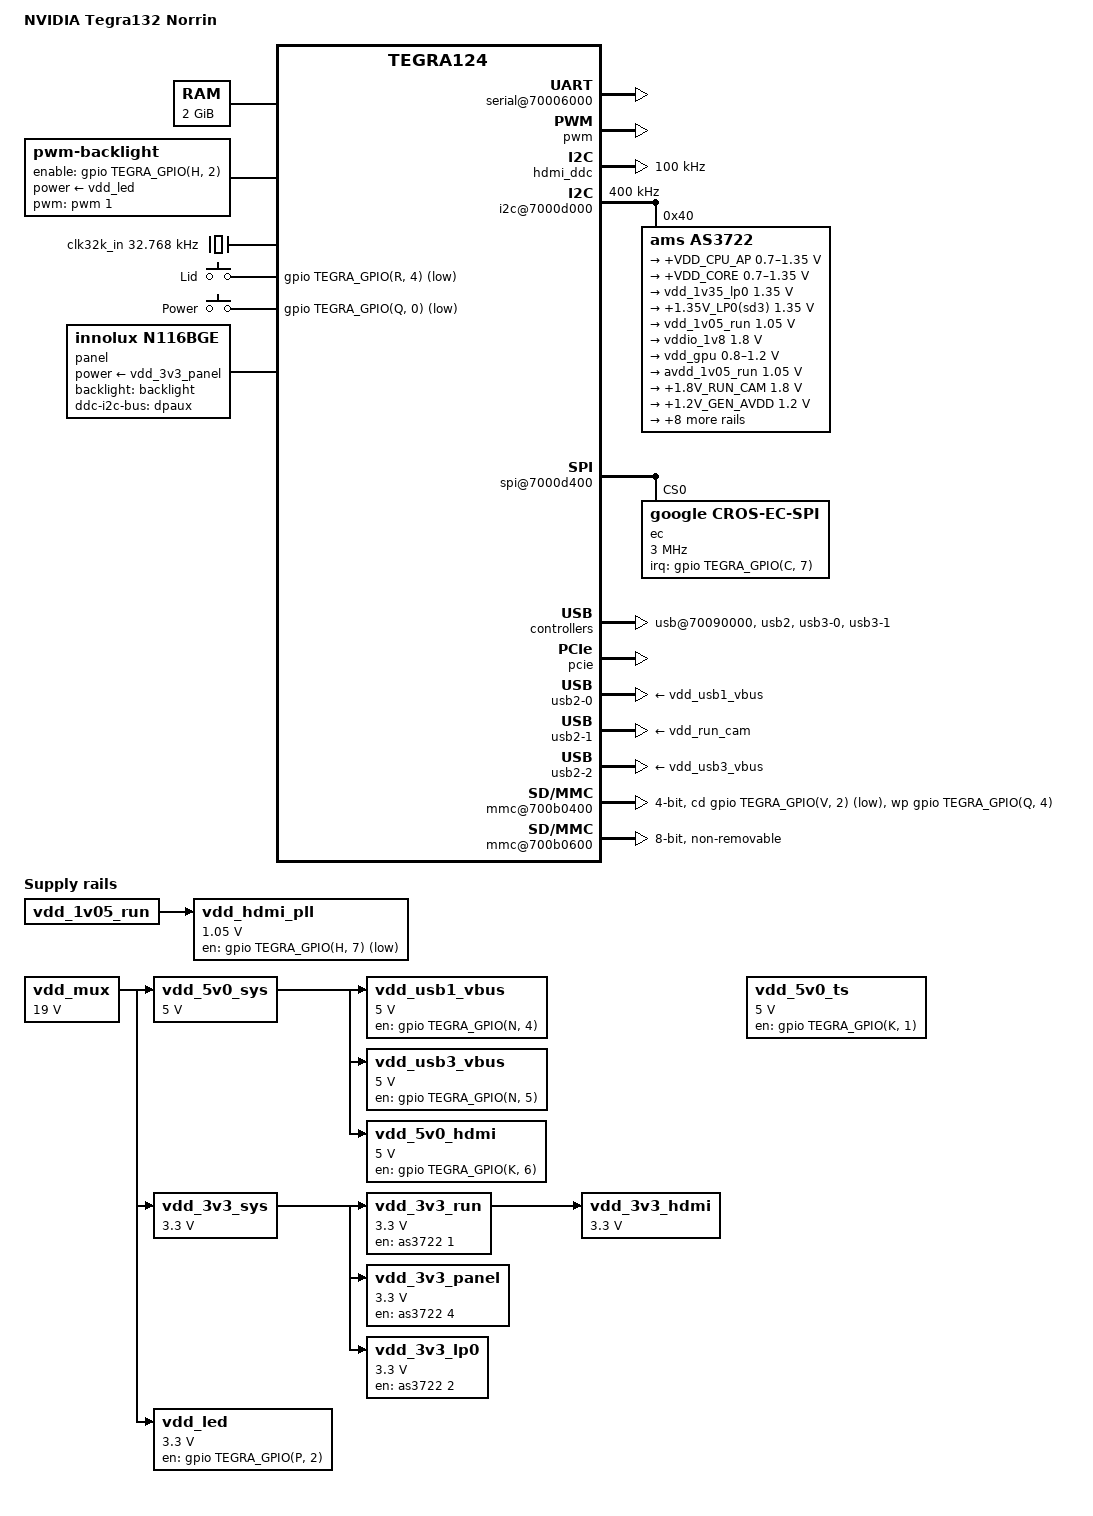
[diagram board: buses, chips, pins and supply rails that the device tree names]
// SPDX-License-Identifier: GPL-2.0
/dts-v1/;

#include <dt-bindings/input/input.h>
#include "tegra132.dtsi"

/ {
	model = "NVIDIA Tegra132 Norrin";
	compatible = "nvidia,norrin", "nvidia,tegra132", "nvidia,tegra124";

	aliases {
		rtc0 = "/i2c@7000d000/as3722@40";
		rtc1 = "/rtc@7000e000";
		serial0 = &uarta;
	};

	chosen {
		stdout-path = "serial0:115200n8";
	};

	memory@80000000 {
		device_type = "memory";
		reg = <0x0 0x80000000 0x0 0x80000000>;
	};

	host1x@50000000 {
		hdmi@54280000 {
			status = "disabled";

			vdd-supply = <&vdd_3v3_hdmi>;
			pll-supply = <&vdd_hdmi_pll>;
			hdmi-supply = <&vdd_5v0_hdmi>;

			nvidia,ddc-i2c-bus = <&hdmi_ddc>;
			nvidia,hpd-gpio =
				<&gpio TEGRA_GPIO(N, 7) GPIO_ACTIVE_HIGH>;
		};

		sor@54540000 {
			status = "okay";

			avdd-io-hdmi-dp-supply = <&vdd_3v3_hdmi>;
			vdd-hdmi-dp-pll-supply = <&vdd_hdmi_pll>;

			nvidia,dpaux = <&dpaux>;
			nvidia,panel = <&panel>;
		};

		dpaux: dpaux@545c0000 {
			vdd-supply = <&vdd_3v3_panel>;
			status = "okay";
		};
	};

	gpu@57000000 {
		status = "okay";

		vdd-supply = <&vdd_gpu>;
	};

	pinmux@70000868 {
		pinctrl-names = "default";
		pinctrl-0 = <&pinmux_default>;

		pinmux_default: pinmux@0 {
			dap_mclk1_pw4 {
				nvidia,pins = "dap_mclk1_pw4";
				nvidia,function = "extperiph1";
				nvidia,pull = <TEGRA_PIN_PULL_NONE>;
				nvidia,tristate = <TEGRA_PIN_DISABLE>;
				nvidia,enable-input = <TEGRA_PIN_DISABLE>;
			};
			dap2_din_pa4 {
				nvidia,pins = "dap2_din_pa4";
				nvidia,function = "i2s1";
				nvidia,pull = <TEGRA_PIN_PULL_NONE>;
				nvidia,tristate = <TEGRA_PIN_DISABLE>;
				nvidia,enable-input = <TEGRA_PIN_ENABLE>;
			};
			dap2_dout_pa5 {
				nvidia,pins = "dap2_dout_pa5",
					      "dap2_fs_pa2",
					      "dap2_sclk_pa3";
				nvidia,function = "i2s1";
				nvidia,pull = <TEGRA_PIN_PULL_NONE>;
				nvidia,tristate = <TEGRA_PIN_DISABLE>;
				nvidia,enable-input = <TEGRA_PIN_DISABLE>;
			};
			dap3_dout_pp2 {
				nvidia,pins = "dap3_dout_pp2";
				nvidia,function = "i2s2";
				nvidia,pull = <TEGRA_PIN_PULL_DOWN>;
				nvidia,tristate = <TEGRA_PIN_DISABLE>;
				nvidia,enable-input = <TEGRA_PIN_DISABLE>;
			};
			dvfs_pwm_px0 {
				nvidia,pins = "dvfs_pwm_px0",
					      "dvfs_clk_px2";
				nvidia,function = "cldvfs";
				nvidia,pull = <TEGRA_PIN_PULL_NONE>;
				nvidia,tristate = <TEGRA_PIN_DISABLE>;
				nvidia,enable-input = <TEGRA_PIN_DISABLE>;
			};
			ulpi_clk_py0 {
				nvidia,pins = "ulpi_clk_py0",
					      "ulpi_nxt_py2",
					      "ulpi_stp_py3";
				nvidia,function = "spi1";
				nvidia,pull = <TEGRA_PIN_PULL_NONE>;
				nvidia,tristate = <TEGRA_PIN_DISABLE>;
				nvidia,enable-input = <TEGRA_PIN_DISABLE>;
			};
			ulpi_dir_py1 {
				nvidia,pins = "ulpi_dir_py1";
				nvidia,function = "spi1";
				nvidia,pull = <TEGRA_PIN_PULL_NONE>;
				nvidia,tristate = <TEGRA_PIN_DISABLE>;
				nvidia,enable-input = <TEGRA_PIN_ENABLE>;
			};
			cam_i2c_scl_pbb1 {
				nvidia,pins = "cam_i2c_scl_pbb1",
					      "cam_i2c_sda_pbb2";
				nvidia,function = "i2c3";
				nvidia,pull = <TEGRA_PIN_PULL_NONE>;
				nvidia,tristate = <TEGRA_PIN_DISABLE>;
				nvidia,enable-input = <TEGRA_PIN_ENABLE>;
				nvidia,lock = <TEGRA_PIN_DISABLE>;
				nvidia,open-drain = <TEGRA_PIN_ENABLE>;
			};
			gen2_i2c_scl_pt5 {
				nvidia,pins = "gen2_i2c_scl_pt5",
					      "gen2_i2c_sda_pt6";
				nvidia,function = "i2c2";
				nvidia,pull = <TEGRA_PIN_PULL_NONE>;
				nvidia,tristate = <TEGRA_PIN_DISABLE>;
				nvidia,enable-input = <TEGRA_PIN_ENABLE>;
				nvidia,lock = <TEGRA_PIN_DISABLE>;
				nvidia,open-drain = <TEGRA_PIN_ENABLE>;
			};
			pj7 {
				nvidia,pins = "pj7";
				nvidia,function = "uartd";
				nvidia,pull = <TEGRA_PIN_PULL_NONE>;
				nvidia,tristate = <TEGRA_PIN_DISABLE>;
				nvidia,enable-input = <TEGRA_PIN_DISABLE>;
			};
			spdif_in_pk6 {
				nvidia,pins = "spdif_in_pk6";
				nvidia,function = "spdif";
				nvidia,pull = <TEGRA_PIN_PULL_DOWN>;
				nvidia,tristate = <TEGRA_PIN_DISABLE>;
				nvidia,enable-input = <TEGRA_PIN_DISABLE>;
			};
			pk7 {
				nvidia,pins = "pk7";
				nvidia,function = "uartd";
				nvidia,pull = <TEGRA_PIN_PULL_NONE>;
				nvidia,tristate = <TEGRA_PIN_DISABLE>;
				nvidia,enable-input = <TEGRA_PIN_DISABLE>;
			};
			pg4 {
				nvidia,pins = "pg4",
					      "pg5",
					      "pg6",
					      "pi3";
				nvidia,function = "spi4";
				nvidia,pull = <TEGRA_PIN_PULL_NONE>;
				nvidia,tristate = <TEGRA_PIN_DISABLE>;
				nvidia,enable-input = <TEGRA_PIN_DISABLE>;
			};
			pg7 {
				nvidia,pins = "pg7";
				nvidia,function = "spi4";
				nvidia,pull = <TEGRA_PIN_PULL_NONE>;
				nvidia,tristate = <TEGRA_PIN_DISABLE>;
				nvidia,enable-input = <TEGRA_PIN_ENABLE>;
			};
			ph1 {
				nvidia,pins = "ph1";
				nvidia,function = "pwm1";
				nvidia,pull = <TEGRA_PIN_PULL_NONE>;
				nvidia,tristate = <TEGRA_PIN_DISABLE>;
				nvidia,enable-input = <TEGRA_PIN_DISABLE>;
			};
			pk0 {
				nvidia,pins = "pk0",
					      "kb_row15_ps7",
					      "clk_32k_out_pa0";
				nvidia,function = "soc";
				nvidia,pull = <TEGRA_PIN_PULL_UP>;
				nvidia,tristate = <TEGRA_PIN_DISABLE>;
				nvidia,enable-input = <TEGRA_PIN_ENABLE>;
			};
			sdmmc1_clk_pz0 {
				nvidia,pins = "sdmmc1_clk_pz0";
				nvidia,function = "sdmmc1";
				nvidia,pull = <TEGRA_PIN_PULL_NONE>;
				nvidia,tristate = <TEGRA_PIN_DISABLE>;
				nvidia,enable-input = <TEGRA_PIN_ENABLE>;
			};
			sdmmc1_cmd_pz1 {
				nvidia,pins = "sdmmc1_cmd_pz1",
					      "sdmmc1_dat0_py7",
					      "sdmmc1_dat1_py6",
					      "sdmmc1_dat2_py5",
					      "sdmmc1_dat3_py4";
				nvidia,function = "sdmmc1";
				nvidia,pull = <TEGRA_PIN_PULL_UP>;
				nvidia,tristate = <TEGRA_PIN_DISABLE>;
				nvidia,enable-input = <TEGRA_PIN_ENABLE>;
			};
			sdmmc3_clk_pa6 {
				nvidia,pins = "sdmmc3_clk_pa6";
				nvidia,function = "sdmmc3";
				nvidia,pull = <TEGRA_PIN_PULL_NONE>;
				nvidia,tristate = <TEGRA_PIN_DISABLE>;
				nvidia,enable-input = <TEGRA_PIN_ENABLE>;
			};
			sdmmc3_cmd_pa7 {
				nvidia,pins = "sdmmc3_cmd_pa7",
					      "sdmmc3_dat0_pb7",
					      "sdmmc3_dat1_pb6",
					      "sdmmc3_dat2_pb5",
					      "sdmmc3_dat3_pb4",
					      "kb_col4_pq4",
					      "sdmmc3_clk_lb_out_pee4",
					      "sdmmc3_clk_lb_in_pee5",
					      "sdmmc3_cd_n_pv2";
				nvidia,function = "sdmmc3";
				nvidia,pull = <TEGRA_PIN_PULL_UP>;
				nvidia,tristate = <TEGRA_PIN_DISABLE>;
				nvidia,enable-input = <TEGRA_PIN_ENABLE>;
			};
			sdmmc4_clk_pcc4 {
				nvidia,pins = "sdmmc4_clk_pcc4";
				nvidia,function = "sdmmc4";
				nvidia,pull = <TEGRA_PIN_PULL_NONE>;
				nvidia,tristate = <TEGRA_PIN_DISABLE>;
				nvidia,enable-input = <TEGRA_PIN_ENABLE>;
			};
			sdmmc4_cmd_pt7 {
				nvidia,pins = "sdmmc4_cmd_pt7",
					      "sdmmc4_dat0_paa0",
					      "sdmmc4_dat1_paa1",
					      "sdmmc4_dat2_paa2",
					      "sdmmc4_dat3_paa3",
					      "sdmmc4_dat4_paa4",
					      "sdmmc4_dat5_paa5",
					      "sdmmc4_dat6_paa6",
					      "sdmmc4_dat7_paa7";
				nvidia,function = "sdmmc4";
				nvidia,pull = <TEGRA_PIN_PULL_UP>;
				nvidia,tristate = <TEGRA_PIN_DISABLE>;
				nvidia,enable-input = <TEGRA_PIN_ENABLE>;
			};
			mic_det_l {
				nvidia,pins = "kb_row7_pr7";
				nvidia,function = "rsvd2";
				nvidia,pull = <TEGRA_PIN_PULL_UP>;
				nvidia,tristate = <TEGRA_PIN_DISABLE>;
				nvidia,enable-input = <TEGRA_PIN_ENABLE>;
			};
			kb_row10_ps2 {
				nvidia,pins = "kb_row10_ps2";
				nvidia,function = "uarta";
				nvidia,pull = <TEGRA_PIN_PULL_UP>;
				nvidia,tristate = <TEGRA_PIN_DISABLE>;
				nvidia,enable-input = <TEGRA_PIN_ENABLE>;
			};
			kb_row9_ps1 {
				nvidia,pins = "kb_row9_ps1";
				nvidia,function = "uarta";
				nvidia,pull = <TEGRA_PIN_PULL_NONE>;
				nvidia,tristate = <TEGRA_PIN_DISABLE>;
				nvidia,enable-input = <TEGRA_PIN_DISABLE>;
			};
			pwr_i2c_scl_pz6 {
				nvidia,pins = "pwr_i2c_scl_pz6",
					      "pwr_i2c_sda_pz7";
				nvidia,function = "i2cpwr";
				nvidia,pull = <TEGRA_PIN_PULL_NONE>;
				nvidia,tristate = <TEGRA_PIN_DISABLE>;
				nvidia,enable-input = <TEGRA_PIN_ENABLE>;
				nvidia,lock = <TEGRA_PIN_DISABLE>;
				nvidia,open-drain = <TEGRA_PIN_ENABLE>;
			};
			jtag_rtck {
				nvidia,pins = "jtag_rtck";
				nvidia,function = "rtck";
				nvidia,pull = <TEGRA_PIN_PULL_UP>;
				nvidia,tristate = <TEGRA_PIN_DISABLE>;
				nvidia,enable-input = <TEGRA_PIN_DISABLE>;
			};
			clk_32k_in {
				nvidia,pins = "clk_32k_in";
				nvidia,function = "clk";
				nvidia,pull = <TEGRA_PIN_PULL_NONE>;
				nvidia,tristate = <TEGRA_PIN_DISABLE>;
				nvidia,enable-input = <TEGRA_PIN_ENABLE>;
			};
			core_pwr_req {
				nvidia,pins = "core_pwr_req";
				nvidia,function = "pwron";
				nvidia,pull = <TEGRA_PIN_PULL_NONE>;
				nvidia,tristate = <TEGRA_PIN_DISABLE>;
				nvidia,enable-input = <TEGRA_PIN_DISABLE>;
			};
			cpu_pwr_req {
				nvidia,pins = "cpu_pwr_req";
				nvidia,function = "cpu";
				nvidia,pull = <TEGRA_PIN_PULL_NONE>;
				nvidia,tristate = <TEGRA_PIN_DISABLE>;
				nvidia,enable-input = <TEGRA_PIN_DISABLE>;
			};
			kb_col0_ap {
				nvidia,pins = "kb_col0_pq0";
				nvidia,function = "rsvd4";
				nvidia,pull = <TEGRA_PIN_PULL_UP>;
				nvidia,tristate = <TEGRA_PIN_DISABLE>;
				nvidia,enable-input = <TEGRA_PIN_ENABLE>;
			};
			en_vdd_sd {
				nvidia,pins = "kb_row0_pr0";
				nvidia,function = "rsvd4";
				nvidia,pull = <TEGRA_PIN_PULL_NONE>;
				nvidia,tristate = <TEGRA_PIN_DISABLE>;
				nvidia,enable-input = <TEGRA_PIN_DISABLE>;
			};
			lid_open {
				nvidia,pins = "kb_row4_pr4";
				nvidia,function = "rsvd3";
				nvidia,pull = <TEGRA_PIN_PULL_UP>;
				nvidia,tristate = <TEGRA_PIN_DISABLE>;
				nvidia,enable-input = <TEGRA_PIN_ENABLE>;
			};
			pwr_int_n {
				nvidia,pins = "pwr_int_n";
				nvidia,function = "pmi";
				nvidia,pull = <TEGRA_PIN_PULL_UP>;
				nvidia,tristate = <TEGRA_PIN_DISABLE>;
				nvidia,enable-input = <TEGRA_PIN_ENABLE>;
			};
			reset_out_n {
				nvidia,pins = "reset_out_n";
				nvidia,function = "reset_out_n";
				nvidia,pull = <TEGRA_PIN_PULL_NONE>;
				nvidia,tristate = <TEGRA_PIN_DISABLE>;
				nvidia,enable-input = <TEGRA_PIN_DISABLE>;
			};
			clk3_out_pee0 {
				nvidia,pins = "clk3_out_pee0";
				nvidia,function = "extperiph3";
				nvidia,pull = <TEGRA_PIN_PULL_NONE>;
				nvidia,tristate = <TEGRA_PIN_DISABLE>;
				nvidia,enable-input = <TEGRA_PIN_DISABLE>;
			};
			gen1_i2c_scl_pc4 {
				nvidia,pins = "gen1_i2c_scl_pc4",
					      "gen1_i2c_sda_pc5";
				nvidia,function = "i2c1";
				nvidia,pull = <TEGRA_PIN_PULL_NONE>;
				nvidia,tristate = <TEGRA_PIN_DISABLE>;
				nvidia,enable-input = <TEGRA_PIN_ENABLE>;
				nvidia,lock = <TEGRA_PIN_DISABLE>;
				nvidia,open-drain = <TEGRA_PIN_ENABLE>;
			};
			hdmi_cec_pee3 {
				nvidia,pins = "hdmi_cec_pee3";
				nvidia,function = "cec";
				nvidia,pull = <TEGRA_PIN_PULL_NONE>;
				nvidia,tristate = <TEGRA_PIN_DISABLE>;
				nvidia,enable-input = <TEGRA_PIN_ENABLE>;
				nvidia,lock = <TEGRA_PIN_DISABLE>;
				nvidia,open-drain = <TEGRA_PIN_DISABLE>;
			};
			hdmi_int_pn7 {
				nvidia,pins = "hdmi_int_pn7";
				nvidia,function = "rsvd1";
				nvidia,pull = <TEGRA_PIN_PULL_DOWN>;
				nvidia,tristate = <TEGRA_PIN_DISABLE>;
				nvidia,enable-input = <TEGRA_PIN_ENABLE>;
			};
			ddc_scl_pv4 {
				nvidia,pins = "ddc_scl_pv4",
					      "ddc_sda_pv5";
				nvidia,function = "i2c4";
				nvidia,pull = <TEGRA_PIN_PULL_DOWN>;
				nvidia,tristate = <TEGRA_PIN_DISABLE>;
				nvidia,enable-input = <TEGRA_PIN_ENABLE>;
				nvidia,lock = <TEGRA_PIN_DISABLE>;
				nvidia,rcv-sel = <TEGRA_PIN_ENABLE>;
			};
			usb_vbus_en0_pn4 {
				nvidia,pins = "usb_vbus_en0_pn4",
					      "usb_vbus_en1_pn5",
					      "usb_vbus_en2_pff1";
				nvidia,function = "usb";
				nvidia,pull = <TEGRA_PIN_PULL_UP>;
				nvidia,tristate = <TEGRA_PIN_ENABLE>;
				nvidia,enable-input = <TEGRA_PIN_ENABLE>;
				nvidia,lock = <TEGRA_PIN_DISABLE>;
				nvidia,open-drain = <TEGRA_PIN_DISABLE>;
			};
			drive_sdio1 {
				nvidia,pins = "drive_sdio1";
				nvidia,high-speed-mode = <TEGRA_PIN_ENABLE>;
				nvidia,schmitt = <TEGRA_PIN_DISABLE>;
				nvidia,pull-down-strength = <36>;
				nvidia,pull-up-strength = <20>;
				nvidia,slew-rate-rising = <TEGRA_PIN_SLEW_RATE_SLOW>;
				nvidia,slew-rate-falling = <TEGRA_PIN_SLEW_RATE_SLOW>;
			};
			drive_sdio3 {
				nvidia,pins = "drive_sdio3";
				nvidia,high-speed-mode = <TEGRA_PIN_ENABLE>;
				nvidia,schmitt = <TEGRA_PIN_DISABLE>;
				nvidia,pull-down-strength = <22>;
				nvidia,pull-up-strength = <36>;
				nvidia,slew-rate-rising = <TEGRA_PIN_SLEW_RATE_FASTEST>;
				nvidia,slew-rate-falling = <TEGRA_PIN_SLEW_RATE_FASTEST>;
			};
			drive_gma {
				nvidia,pins = "drive_gma";
				nvidia,high-speed-mode = <TEGRA_PIN_ENABLE>;
				nvidia,schmitt = <TEGRA_PIN_DISABLE>;
				nvidia,pull-down-strength = <2>;
				nvidia,pull-up-strength = <1>;
				nvidia,slew-rate-rising = <TEGRA_PIN_SLEW_RATE_FASTEST>;
				nvidia,slew-rate-falling = <TEGRA_PIN_SLEW_RATE_FASTEST>;
				nvidia,drive-type = <1>;
			};
			ac_ok {
				nvidia,pins = "pj0";
				nvidia,function = "gmi";
				nvidia,pull = <TEGRA_PIN_PULL_UP>;
				nvidia,tristate = <TEGRA_PIN_ENABLE>;
				nvidia,enable-input = <TEGRA_PIN_ENABLE>;
			};
			codec_irq_l {
				nvidia,pins = "ph4";
				nvidia,function = "gmi";
				nvidia,pull = <TEGRA_PIN_PULL_NONE>;
				nvidia,tristate = <TEGRA_PIN_DISABLE>;
				nvidia,enable-input = <TEGRA_PIN_ENABLE>;
			};
			lcd_bl_en {
				nvidia,pins = "ph2";
				nvidia,function = "gmi";
				nvidia,pull = <TEGRA_PIN_PULL_DOWN>;
				nvidia,tristate = <TEGRA_PIN_DISABLE>;
				nvidia,enable-input = <TEGRA_PIN_DISABLE>;
			};
			touch_irq_l {
				nvidia,pins = "gpio_w3_aud_pw3";
				nvidia,function = "spi6";
				nvidia,pull = <TEGRA_PIN_PULL_NONE>;
				nvidia,tristate = <TEGRA_PIN_DISABLE>;
				nvidia,enable-input = <TEGRA_PIN_ENABLE>;
			};
			tpm_davint_l {
				nvidia,pins = "ph6";
				nvidia,function = "gmi";
				nvidia,pull = <TEGRA_PIN_PULL_NONE>;
				nvidia,tristate = <TEGRA_PIN_DISABLE>;
				nvidia,enable-input = <TEGRA_PIN_ENABLE>;
			};
			ts_irq_l {
				nvidia,pins = "pk2";
				nvidia,function = "gmi";
				nvidia,pull = <TEGRA_PIN_PULL_NONE>;
				nvidia,tristate = <TEGRA_PIN_DISABLE>;
				nvidia,enable-input = <TEGRA_PIN_ENABLE>;
			};
			ts_reset_l {
				nvidia,pins = "pk4";
				nvidia,function = "gmi";
				nvidia,pull = <1>;
				nvidia,tristate = <TEGRA_PIN_DISABLE>;
				nvidia,enable-input = <TEGRA_PIN_DISABLE>;
			};
			ts_shdn_l {
				nvidia,pins = "pk1";
				nvidia,function = "gmi";
				nvidia,pull = <TEGRA_PIN_PULL_UP>;
				nvidia,tristate = <TEGRA_PIN_DISABLE>;
				nvidia,enable-input = <TEGRA_PIN_DISABLE>;
			};
			ph7 {
				nvidia,pins = "ph7";
				nvidia,function = "gmi";
				nvidia,pull = <TEGRA_PIN_PULL_NONE>;
				nvidia,tristate = <TEGRA_PIN_DISABLE>;
				nvidia,enable-input = <TEGRA_PIN_ENABLE>;
			};
			sensor_irq_l {
				nvidia,pins = "pi6";
				nvidia,function = "gmi";
				nvidia,pull = <TEGRA_PIN_PULL_NONE>;
				nvidia,tristate = <TEGRA_PIN_DISABLE>;
				nvidia,enable-input = <TEGRA_PIN_ENABLE>;
			};
			wifi_en {
				nvidia,pins = "gpio_x7_aud_px7";
				nvidia,function = "rsvd4";
				nvidia,pull = <TEGRA_PIN_PULL_NONE>;
				nvidia,tristate = <TEGRA_PIN_DISABLE>;
				nvidia,enable-input = <TEGRA_PIN_DISABLE>;
			};
			chromeos_write_protect {
				nvidia,pins = "kb_row1_pr1";
				nvidia,function = "rsvd4";
				nvidia,pull = <TEGRA_PIN_PULL_NONE>;
				nvidia,tristate = <TEGRA_PIN_DISABLE>;
				nvidia,enable-input = <TEGRA_PIN_ENABLE>;
			};
			hp_det_l {
				nvidia,pins = "pi7";
				nvidia,function = "rsvd1";
				nvidia,pull = <TEGRA_PIN_PULL_NONE>;
				nvidia,tristate = <TEGRA_PIN_DISABLE>;
				nvidia,enable-input = <TEGRA_PIN_ENABLE>;
			};
			soc_warm_reset_l {
				nvidia,pins = "pi5";
				nvidia,function = "gmi";
				nvidia,pull = <TEGRA_PIN_PULL_UP>;
				nvidia,tristate = <TEGRA_PIN_DISABLE>;
				nvidia,enable-input = <TEGRA_PIN_DISABLE>;
			};
		};
	};

	serial@70006000 {
		status = "okay";
	};

	pwm: pwm@7000a000 {
		status = "okay";
	};

	/* HDMI DDC */
	hdmi_ddc: i2c@7000c700 {
		status = "okay";
		clock-frequency = <100000>;
	};

	i2c@7000d000 {
		status = "okay";
		clock-frequency = <400000>;

		as3722: pmic@40 {
			compatible = "ams,as3722";
			reg = <0x40>;
			interrupts = <GIC_SPI 86 IRQ_TYPE_LEVEL_HIGH>;

			ams,system-power-controller;

			#interrupt-cells = <2>;
			interrupt-controller;

			#gpio-cells = <2>;
			gpio-controller;

			pinctrl-names = "default";
			pinctrl-0 = <&as3722_default>;

			as3722_default: pinmux {
				gpio0 {
					pins = "gpio0";
					function = "gpio";
					bias-pull-down;
				};

				gpio1 {
					pins = "gpio1";
					function = "gpio";
					bias-pull-up;
				};

				gpio2_4_7 {
					pins = "gpio2", "gpio4", "gpio7";
					function = "gpio";
					bias-pull-up;
				};

				gpio3 {
					pins = "gpio3";
					function = "gpio";
					bias-high-impedance;
				};

				gpio5 {
					pins = "gpio5";
					function = "clk32k-out";
					bias-pull-down;
				};

				gpio6 {
					pins = "gpio6";
					function = "clk32k-out";
					bias-pull-down;
				};
			};

			regulators {
				vsup-sd2-supply = <&vdd_5v0_sys>;
				vsup-sd3-supply = <&vdd_5v0_sys>;
				vsup-sd4-supply = <&vdd_5v0_sys>;
				vsup-sd5-supply = <&vdd_5v0_sys>;
				vin-ldo0-supply = <&vdd_1v35_lp0>;
				vin-ldo1-6-supply = <&vdd_3v3_sys>;
				vin-ldo2-5-7-supply = <&vddio_1v8>;
				vin-ldo3-4-supply = <&vdd_3v3_sys>;
				vin-ldo9-10-supply = <&vdd_5v0_sys>;
				vin-ldo11-supply = <&vdd_3v3_run>;

				sd0 {
					regulator-name = "+VDD_CPU_AP";
					regulator-min-microvolt = <700000>;
					regulator-max-microvolt = <1350000>;
					regulator-max-microamp = <3500000>;
					regulator-always-on;
					regulator-boot-on;
					ams,ext-control = <2>;
				};

				sd1 {
					regulator-name = "+VDD_CORE";
					regulator-min-microvolt = <700000>;
					regulator-max-microvolt = <1350000>;
					regulator-max-microamp = <4000000>;
					regulator-always-on;
					regulator-boot-on;
					ams,ext-control = <1>;
				};

				vdd_1v35_lp0: sd2 {
					regulator-name = "+1.35V_LP0(sd2)";
					regulator-min-microvolt = <1350000>;
					regulator-max-microvolt = <1350000>;
					regulator-always-on;
					regulator-boot-on;
				};

				sd3 {
					regulator-name = "+1.35V_LP0(sd3)";
					regulator-min-microvolt = <1350000>;
					regulator-max-microvolt = <1350000>;
					regulator-always-on;
					regulator-boot-on;
				};

				vdd_1v05_run: sd4 {
					regulator-name = "+1.05V_RUN";
					regulator-min-microvolt = <1050000>;
					regulator-max-microvolt = <1050000>;
				};

				vddio_1v8: sd5 {
					regulator-name = "+1.8V_VDDIO";
					regulator-min-microvolt = <1800000>;
					regulator-max-microvolt = <1800000>;
					regulator-always-on;
					regulator-boot-on;
				};

				vdd_gpu: sd6 {
					regulator-name = "+VDD_GPU_AP";
					regulator-min-microvolt = <800000>;
					regulator-max-microvolt = <1200000>;
					regulator-min-microamp = <3500000>;
					regulator-max-microamp = <3500000>;
					regulator-always-on;
					regulator-boot-on;
				};

				avdd_1v05_run: ldo0 {
					regulator-name = "+1.05_RUN_AVDD";
					regulator-min-microvolt = <1050000>;
					regulator-max-microvolt = <1050000>;
					regulator-always-on;
					regulator-boot-on;
					ams,ext-control = <1>;
				};

				ldo1 {
					regulator-name = "+1.8V_RUN_CAM";
					regulator-min-microvolt = <1800000>;
					regulator-max-microvolt = <1800000>;
				};

				ldo2 {
					regulator-name = "+1.2V_GEN_AVDD";
					regulator-min-microvolt = <1200000>;
					regulator-max-microvolt = <1200000>;
					regulator-always-on;
					regulator-boot-on;
				};

				ldo3 {
					regulator-name = "+1.00V_LP0_VDD_RTC";
					regulator-min-microvolt = <1000000>;
					regulator-max-microvolt = <1000000>;
					regulator-always-on;
					regulator-boot-on;
					ams,enable-tracking;
				};

				vdd_run_cam: ldo4 {
					regulator-name = "+2.8V_RUN_CAM";
					regulator-min-microvolt = <2800000>;
					regulator-max-microvolt = <2800000>;
				};

				ldo5 {
					regulator-name = "+1.2V_RUN_CAM_FRONT";
					regulator-min-microvolt = <1200000>;
					regulator-max-microvolt = <1200000>;
				};

				vddio_sdmmc3: ldo6 {
					regulator-name = "+VDDIO_SDMMC3";
					regulator-min-microvolt = <1800000>;
					regulator-max-microvolt = <3300000>;
				};

				ldo7 {
					regulator-name = "+1.05V_RUN_CAM_REAR";
					regulator-min-microvolt = <1050000>;
					regulator-max-microvolt = <1050000>;
				};

				ldo9 {
					regulator-name = "+2.8V_RUN_TOUCH";
					regulator-min-microvolt = <2800000>;
					regulator-max-microvolt = <2800000>;
				};

				ldo10 {
					regulator-name = "+2.8V_RUN_CAM_AF";
					regulator-min-microvolt = <2800000>;
					regulator-max-microvolt = <2800000>;
				};

				ldo11 {
					regulator-name = "+1.8V_RUN_VPP_FUSE";
					regulator-min-microvolt = <1800000>;
					regulator-max-microvolt = <1800000>;
				};
			};
		};
	};

	spi@7000d400 {
		status = "okay";

		ec: cros-ec@0 {
			compatible = "google,cros-ec-spi";
			spi-max-frequency = <3000000>;
			interrupt-parent = <&gpio>;
			interrupts = <TEGRA_GPIO(C, 7) IRQ_TYPE_LEVEL_LOW>;
			reg = <0>;

			google,cros-ec-spi-msg-delay = <2000>;

			i2c_20: i2c-tunnel {
				compatible = "google,cros-ec-i2c-tunnel";
				#address-cells = <1>;
				#size-cells = <0>;

				google,remote-bus = <0>;

				charger: bq24735@9 {
					compatible = "ti,bq24735";
					reg = <0x9>;
					interrupt-parent = <&gpio>;
					interrupts = <TEGRA_GPIO(J, 0)
							GPIO_ACTIVE_HIGH>;
					ti,ac-detect-gpios = <&gpio
							TEGRA_GPIO(J, 0)
							GPIO_ACTIVE_HIGH>;
				};

				battery: smart-battery@b {
					compatible = "sbs,sbs-battery";
					reg = <0xb>;
					sbs,i2c-retry-count = <2>;
					sbs,poll-retry-count = <10>;
				/*	power-supplies = <&charger>; */
				};
			};

			keyboard-controller {
				compatible = "google,cros-ec-keyb";
				keypad,num-rows = <8>;
				keypad,num-columns = <13>;
				google,needs-ghost-filter;
				linux,keymap =
					<MATRIX_KEY(0x00, 0x01, KEY_LEFTMETA)
					 MATRIX_KEY(0x00, 0x02, KEY_F1)
					 MATRIX_KEY(0x00, 0x03, KEY_B)
					 MATRIX_KEY(0x00, 0x04, KEY_F10)
					 MATRIX_KEY(0x00, 0x06, KEY_N)
					 MATRIX_KEY(0x00, 0x08, KEY_EQUAL)
					 MATRIX_KEY(0x00, 0x0a, KEY_RIGHTALT)

					 MATRIX_KEY(0x01, 0x01, KEY_ESC)
					 MATRIX_KEY(0x01, 0x02, KEY_F4)
					 MATRIX_KEY(0x01, 0x03, KEY_G)
					 MATRIX_KEY(0x01, 0x04, KEY_F7)
					 MATRIX_KEY(0x01, 0x06, KEY_H)
					 MATRIX_KEY(0x01, 0x08, KEY_APOSTROPHE)
					 MATRIX_KEY(0x01, 0x09, KEY_F9)
					 MATRIX_KEY(0x01, 0x0b, KEY_BACKSPACE)

					 MATRIX_KEY(0x02, 0x00, KEY_LEFTCTRL)
					 MATRIX_KEY(0x02, 0x01, KEY_TAB)
					 MATRIX_KEY(0x02, 0x02, KEY_F3)
					 MATRIX_KEY(0x02, 0x03, KEY_T)
					 MATRIX_KEY(0x02, 0x04, KEY_F6)
					 MATRIX_KEY(0x02, 0x05, KEY_RIGHTBRACE)
					 MATRIX_KEY(0x02, 0x06, KEY_Y)
					 MATRIX_KEY(0x02, 0x07, KEY_102ND)
					 MATRIX_KEY(0x02, 0x08, KEY_LEFTBRACE)
					 MATRIX_KEY(0x02, 0x09, KEY_F8)

					 MATRIX_KEY(0x03, 0x01, KEY_GRAVE)
					 MATRIX_KEY(0x03, 0x02, KEY_F2)
					 MATRIX_KEY(0x03, 0x03, KEY_5)
					 MATRIX_KEY(0x03, 0x04, KEY_F5)
					 MATRIX_KEY(0x03, 0x06, KEY_6)
					 MATRIX_KEY(0x03, 0x08, KEY_MINUS)
					 MATRIX_KEY(0x03, 0x0b, KEY_BACKSLASH)

					 MATRIX_KEY(0x04, 0x00, KEY_RIGHTCTRL)
					 MATRIX_KEY(0x04, 0x01, KEY_A)
					 MATRIX_KEY(0x04, 0x02, KEY_D)
					 MATRIX_KEY(0x04, 0x03, KEY_F)
					 MATRIX_KEY(0x04, 0x04, KEY_S)
					 MATRIX_KEY(0x04, 0x05, KEY_K)
					 MATRIX_KEY(0x04, 0x06, KEY_J)
					 MATRIX_KEY(0x04, 0x08, KEY_SEMICOLON)
					 MATRIX_KEY(0x04, 0x09, KEY_L)
					 MATRIX_KEY(0x04, 0x0a, KEY_BACKSLASH)
					 MATRIX_KEY(0x04, 0x0b, KEY_ENTER)

					 MATRIX_KEY(0x05, 0x01, KEY_Z)
					 MATRIX_KEY(0x05, 0x02, KEY_C)
					 MATRIX_KEY(0x05, 0x03, KEY_V)
					 MATRIX_KEY(0x05, 0x04, KEY_X)
					 MATRIX_KEY(0x05, 0x05, KEY_COMMA)
					 MATRIX_KEY(0x05, 0x06, KEY_M)
					 MATRIX_KEY(0x05, 0x07, KEY_LEFTSHIFT)
					 MATRIX_KEY(0x05, 0x08, KEY_SLASH)
					 MATRIX_KEY(0x05, 0x09, KEY_DOT)
					 MATRIX_KEY(0x05, 0x0b, KEY_SPACE)

					 MATRIX_KEY(0x06, 0x01, KEY_1)
					 MATRIX_KEY(0x06, 0x02, KEY_3)
					 MATRIX_KEY(0x06, 0x03, KEY_4)
					 MATRIX_KEY(0x06, 0x04, KEY_2)
					 MATRIX_KEY(0x06, 0x05, KEY_8)
					 MATRIX_KEY(0x06, 0x06, KEY_7)
					 MATRIX_KEY(0x06, 0x08, KEY_0)
					 MATRIX_KEY(0x06, 0x09, KEY_9)
					 MATRIX_KEY(0x06, 0x0a, KEY_LEFTALT)
					 MATRIX_KEY(0x06, 0x0b, KEY_DOWN)
					 MATRIX_KEY(0x06, 0x0c, KEY_RIGHT)

					 MATRIX_KEY(0x07, 0x01, KEY_Q)
					 MATRIX_KEY(0x07, 0x02, KEY_E)
					 MATRIX_KEY(0x07, 0x03, KEY_R)
					 MATRIX_KEY(0x07, 0x04, KEY_W)
					 MATRIX_KEY(0x07, 0x05, KEY_I)
					 MATRIX_KEY(0x07, 0x06, KEY_U)
					 MATRIX_KEY(0x07, 0x07, KEY_RIGHTSHIFT)
					 MATRIX_KEY(0x07, 0x08, KEY_P)
					 MATRIX_KEY(0x07, 0x09, KEY_O)
					 MATRIX_KEY(0x07, 0x0b, KEY_UP)
					 MATRIX_KEY(0x07, 0x0c, KEY_LEFT)>;
			};
		};
	};

	pmc@7000e400 {
		nvidia,invert-interrupt;
		nvidia,suspend-mode = <0>;
		nvidia,cpu-pwr-good-time = <500>;
		nvidia,cpu-pwr-off-time = <300>;
		nvidia,core-pwr-good-time = <641 3845>;
		nvidia,core-pwr-off-time = <61036>;
		nvidia,core-power-req-active-high;
		nvidia,sys-clock-req-active-high;
	};

	usb@70090000 {
		phys = <&{/padctl@7009f000/pads/usb2/lanes/usb2-0}>, /* 1st USB A */
		       <&{/padctl@7009f000/pads/usb2/lanes/usb2-1}>, /* Internal USB */
		       <&{/padctl@7009f000/pads/usb2/lanes/usb2-2}>, /* 2nd USB A */
		       <&{/padctl@7009f000/pads/pcie/lanes/pcie-0}>, /* 1st USB A */
		       <&{/padctl@7009f000/pads/pcie/lanes/pcie-1}>; /* 2nd USB A */
		phy-names = "usb2-0", "usb2-1", "usb2-2", "usb3-0", "usb3-1";

		avddio-pex-supply = <&vdd_1v05_run>;
		dvddio-pex-supply = <&vdd_1v05_run>;
		avdd-usb-supply = <&vdd_3v3_lp0>;
		hvdd-usb-ss-supply = <&vdd_3v3_lp0>;

		status = "okay";
	};

	padctl@7009f000 {
		avdd-pll-utmip-supply = <&vddio_1v8>;
		avdd-pll-erefe-supply = <&avdd_1v05_run>;
		avdd-pex-pll-supply = <&vdd_1v05_run>;
		hvdd-pex-pll-e-supply = <&vdd_3v3_lp0>;

		pads {
			usb2 {
				status = "okay";

				lanes {
					usb2-0 {
						nvidia,function = "xusb";
						status = "okay";
					};

					usb2-1 {
						nvidia,function = "xusb";
						status = "okay";
					};

					usb2-2 {
						nvidia,function = "xusb";
						status = "okay";
					};
				};
			};

			pcie {
				status = "okay";

				lanes {
					pcie-0 {
						nvidia,function = "usb3-ss";
						status = "okay";
					};

					pcie-1 {
						nvidia,function = "usb3-ss";
						status = "okay";
					};
				};
			};
		};

		ports {
			usb2-0 {
				status = "okay";
				mode = "otg";

				vbus-supply = <&vdd_usb1_vbus>;
			};

			usb2-1 {
				status = "okay";
				mode = "host";

				vbus-supply = <&vdd_run_cam>;
			};

			usb2-2 {
				status = "okay";
				mode = "host";

				vbus-supply = <&vdd_usb3_vbus>;
			};

			usb3-0 {
				nvidia,usb2-companion = <0>;
				status = "okay";
			};

			usb3-1 {
				nvidia,usb2-companion = <2>;
				status = "okay";
			};
		};
	};

	/* WIFI/BT module */
	mmc@700b0000 {
		status = "disabled";
	};

	/* external SD/MMC */
	mmc@700b0400 {
		cd-gpios = <&gpio TEGRA_GPIO(V, 2) GPIO_ACTIVE_LOW>;
		power-gpios = <&gpio TEGRA_GPIO(R, 0) GPIO_ACTIVE_HIGH>;
		wp-gpios = <&gpio TEGRA_GPIO(Q, 4) GPIO_ACTIVE_HIGH>;
		status = "okay";
		bus-width = <4>;
		vqmmc-supply = <&vddio_sdmmc3>;
	};

	/* EMMC 4.51 */
	mmc@700b0600 {
		status = "okay";
		bus-width = <8>;
		non-removable;
	};

	backlight: backlight {
		compatible = "pwm-backlight";

		enable-gpios = <&gpio TEGRA_GPIO(H, 2) GPIO_ACTIVE_HIGH>;
		power-supply = <&vdd_led>;
		pwms = <&pwm 1 1000000>;

		brightness-levels = <0 4 8 16 32 64 128 255>;
		default-brightness-level = <6>;
	};

	clk32k_in: clock-32k {
		compatible = "fixed-clock";
		clock-frequency = <32768>;
		#clock-cells = <0>;
	};

	gpio-keys {
		compatible = "gpio-keys";

		switch-lid {
			label = "Lid";
			gpios = <&gpio TEGRA_GPIO(R, 4) GPIO_ACTIVE_LOW>;
			linux,input-type = <5>;
			linux,code = <0>;
			debounce-interval = <1>;
			wakeup-source;
		};

		key-power {
			label = "Power";
			gpios = <&gpio TEGRA_GPIO(Q, 0) GPIO_ACTIVE_LOW>;
			linux,code = <KEY_POWER>;
			debounce-interval = <10>;
			wakeup-source;
		};
	};

	panel: panel {
		compatible = "innolux,n116bge";
		power-supply = <&vdd_3v3_panel>;
		backlight = <&backlight>;
		ddc-i2c-bus = <&dpaux>;
	};

	vdd_mux: regulator-vdd-mux {
		compatible = "regulator-fixed";
		regulator-name = "+VDD_MUX";
		regulator-min-microvolt = <19000000>;
		regulator-max-microvolt = <19000000>;
		regulator-always-on;
		regulator-boot-on;
	};

	vdd_5v0_sys: regulator-vdd-5v0-sys {
		compatible = "regulator-fixed";
		regulator-name = "+5V_SYS";
		regulator-min-microvolt = <5000000>;
		regulator-max-microvolt = <5000000>;
		regulator-always-on;
		regulator-boot-on;
		vin-supply = <&vdd_mux>;
	};

	vdd_3v3_sys: regulator-vdd-3v3-sys {
		compatible = "regulator-fixed";
		regulator-name = "+3.3V_SYS";
		regulator-min-microvolt = <3300000>;
		regulator-max-microvolt = <3300000>;
		regulator-always-on;
		regulator-boot-on;
		vin-supply = <&vdd_mux>;
	};

	vdd_3v3_run: regulator-vdd-3v3-run {
		compatible = "regulator-fixed";
		regulator-name = "+3.3V_RUN";
		regulator-min-microvolt = <3300000>;
		regulator-max-microvolt = <3300000>;
		regulator-always-on;
		regulator-boot-on;
		gpio = <&as3722 1 GPIO_ACTIVE_HIGH>;
		enable-active-high;
		vin-supply = <&vdd_3v3_sys>;
	};

	vdd_3v3_hdmi: regulator-vdd-3v3-hdmi {
		compatible = "regulator-fixed";
		regulator-name = "+3.3V_AVDD_HDMI_AP_GATED";
		regulator-min-microvolt = <3300000>;
		regulator-max-microvolt = <3300000>;
		vin-supply = <&vdd_3v3_run>;
	};

	vdd_led: regulator-vdd-led {
		compatible = "regulator-fixed";
		regulator-name = "+VDD_LED";
		regulator-min-microvolt = <3300000>;
		regulator-max-microvolt = <3300000>;
		gpio = <&gpio TEGRA_GPIO(P, 2) GPIO_ACTIVE_HIGH>;
		enable-active-high;
		vin-supply = <&vdd_mux>;
	};

	vdd_usb1_vbus: regulator-vdd-usb1-vbus {
		compatible = "regulator-fixed";
		regulator-name = "+5V_USB_HS";
		regulator-min-microvolt = <5000000>;
		regulator-max-microvolt = <5000000>;
		gpio = <&gpio TEGRA_GPIO(N, 4) GPIO_ACTIVE_HIGH>;
		enable-active-high;
		gpio-open-drain;
		vin-supply = <&vdd_5v0_sys>;
	};

	vdd_usb3_vbus: regulator-vdd-usb3-vbus {
		compatible = "regulator-fixed";
		regulator-name = "+5V_USB_SS";
		regulator-min-microvolt = <5000000>;
		regulator-max-microvolt = <5000000>;
		gpio = <&gpio TEGRA_GPIO(N, 5) GPIO_ACTIVE_HIGH>;
		enable-active-high;
		gpio-open-drain;
		vin-supply = <&vdd_5v0_sys>;
	};

	vdd_3v3_panel: regulator-vdd-3v3-panel {
		compatible = "regulator-fixed";
		regulator-name = "+3.3V_PANEL";
		regulator-min-microvolt = <3300000>;
		regulator-max-microvolt = <3300000>;
		gpio = <&as3722 4 GPIO_ACTIVE_HIGH>;
		enable-active-high;
		vin-supply = <&vdd_3v3_sys>;
	};

	vdd_hdmi_pll: regulator-vdd-hdmi-pll {
		compatible = "regulator-fixed";
		regulator-name = "+1.05V_RUN_AVDD_HDMI_PLL_AP_GATE";
		regulator-min-microvolt = <1050000>;
		regulator-max-microvolt = <1050000>;
		gpio = <&gpio TEGRA_GPIO(H, 7) GPIO_ACTIVE_LOW>;
		vin-supply = <&vdd_1v05_run>;
	};

	vdd_5v0_hdmi: regulator-vdd-5v0-hdmi {
		compatible = "regulator-fixed";
		regulator-name = "+5V_HDMI_CON";
		regulator-min-microvolt = <5000000>;
		regulator-max-microvolt = <5000000>;
		gpio = <&gpio TEGRA_GPIO(K, 6) GPIO_ACTIVE_HIGH>;
		enable-active-high;
		vin-supply = <&vdd_5v0_sys>;
	};

	vdd_5v0_ts: regulator-vdd-5v0-ts {
		compatible = "regulator-fixed";
		regulator-name = "+5V_VDD_TS";
		regulator-min-microvolt = <5000000>;
		regulator-max-microvolt = <5000000>;
		regulator-always-on;
		regulator-boot-on;
		gpio = <&gpio TEGRA_GPIO(K, 1) GPIO_ACTIVE_HIGH>;
		enable-active-high;
	};

	vdd_3v3_lp0: regulator-vdd-3v3-lp0 {
		compatible = "regulator-fixed";
		regulator-name = "+3.3V_LP0";
		regulator-min-microvolt = <3300000>;
		regulator-max-microvolt = <3300000>;
		/*
		 * TODO: find a way to wire this up with the USB EHCI
		 * controllers so that it can be enabled on demand.
		 */
		regulator-always-on;
		gpio = <&as3722 2 GPIO_ACTIVE_HIGH>;
		enable-active-high;
		vin-supply = <&vdd_3v3_sys>;
	};
};
